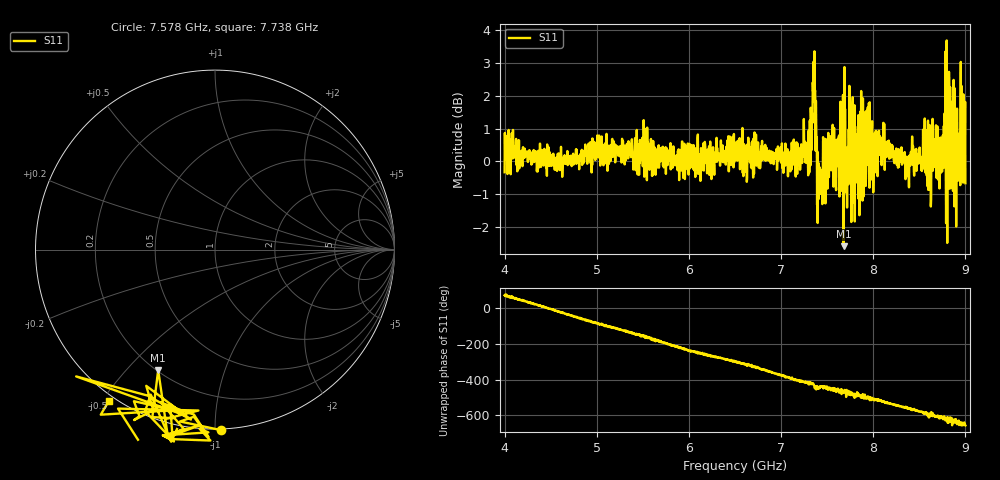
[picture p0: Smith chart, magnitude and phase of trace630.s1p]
! Created with skrf 1.8.0 (http://scikit-rf.org).
# Hz S RI R 50.0
!freq ReS11 ImS11
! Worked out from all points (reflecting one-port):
!   1601 points, 4 GHz to 9 GHz, reference 50 ohm
!   lowest |S11| = -2.6 dB at 7.678 GHz (marker M1), VSWR 6.75, Z = 10.3 - j30.7 ohm
!   phase of S11 starts at 72 deg and turns -730 deg over the sweep
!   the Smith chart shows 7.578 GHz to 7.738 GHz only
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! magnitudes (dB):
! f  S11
! 4 GHz  -0.3
! 4.1 GHz  0.3
! 4.153 GHz  0.2
! 4.625 GHz  -0.5
! 5.25 GHz  0.3
! 5.875 GHz  0.2
! 6.5 GHz  0.3
! 7.125 GHz  0.2
! 7.294 GHz  -0.4
! 7.347 GHz  2.1
! 7.369 GHz  2.2
! 7.397 GHz  -1.9
! 7.422 GHz  -0.9
! 7.538 GHz  0.8
! 7.591 GHz  -0.7
! 7.628 GHz  0.8
! 7.678 GHz  -2.6
! 7.75 GHz  -0.2
! 7.775 GHz  1.7
! 7.928 GHz  1.0
! 7.981 GHz  -0.6
! 8.134 GHz  0.2
! 8.375 GHz  -0.1
! 8.725 GHz  0.7
! 8.819 GHz  -0.1
! 8.919 GHz  -0.1
! 8.972 GHz  1.1
! 9 GHz  -0.7
